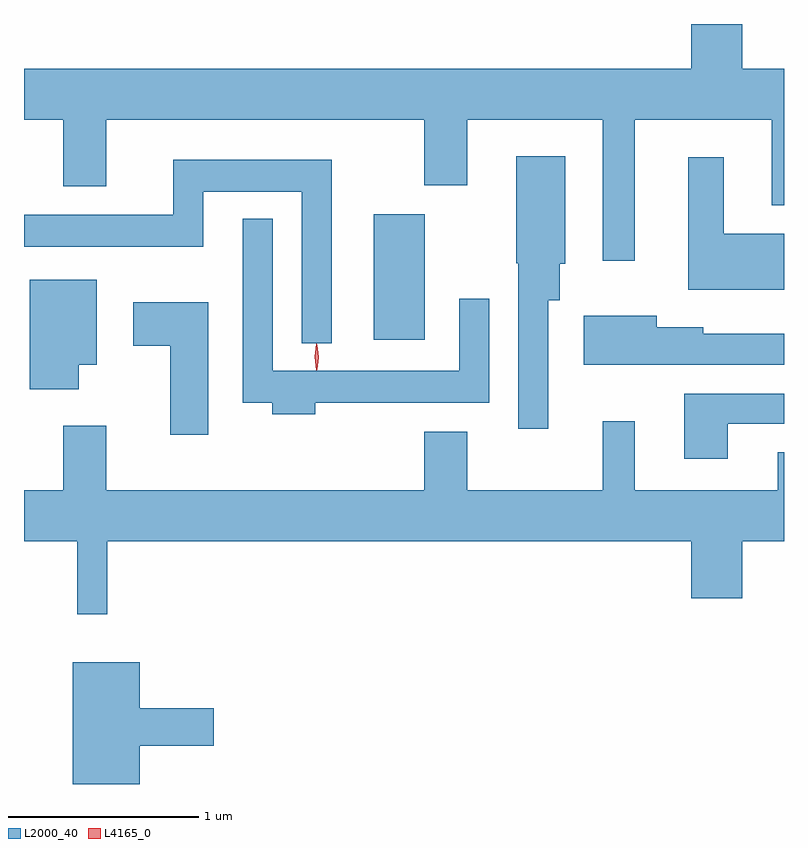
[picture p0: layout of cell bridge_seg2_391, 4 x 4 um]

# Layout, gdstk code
import gdstk
lib = gdstk.Library(unit=1e-6, precision=1e-09)
def R(c, l, rs):  # rectangles x0, y0, x1, y1
    for r in rs: c.add(gdstk.rectangle(r[:2], r[2:], *l))
def P(c, l, *ps):  # polygons
    for p in ps: c.add(gdstk.Polygon(p, *l))
L2000_40 = (2000, 40)
L4165_0 = (4165, 0)

bridge_seg2_391 = lib.new_cell('bridge_seg2_391')
R(bridge_seg2_391, L2000_40, [(632.986,980.556,633.254,981.219)])
P(bridge_seg2_391, L2000_40, [(634.359,981.716),(635.081,981.716),(635.081,981.266),(635.145,981.266),(635.145,981.984),(634.924,981.984),(634.924,982.219),(634.656,982.219),(634.656,981.984),(631.145,981.984),(631.145,981.716),(631.351,981.716),(631.351,981.366),(631.579,981.366),(631.579,981.716),(633.251,981.716),(633.251,981.371),(633.479,981.371),(633.479,981.716),(634.191,981.716),(634.191,980.973),(634.359,980.973)],
  [(633.904,980.766),(633.964,980.766),(633.964,980.956),(633.994,980.956),(633.994,981.524),(633.736,981.524),(633.736,980.96),(633.746,980.96),(633.746,980.088),(633.904,980.088)],
  [(635.145,981.114),(634.829,981.114),(634.829,981.519),(634.641,981.519),(634.641,980.821),(635.145,980.821)],
  [(632.764,981.504),(631.931,981.504),(631.931,981.214),(631.145,981.214),(631.145,981.046),(632.089,981.046),(632.089,981.336),(632.606,981.336),(632.606,980.538),(632.764,980.538)],
  [(632.679,980.226),(633.594,980.226),(633.594,980.773),(633.436,980.773),(633.436,980.394),(632.454,980.394),(632.454,981.193),(632.296,981.193),(632.296,980.226),(632.451,980.226),(632.451,980.166),(632.679,980.166)],
  [(631.434,980.426),(631.529,980.426),(631.529,980.874),(631.176,980.874),(631.176,980.296),(631.434,980.296)],
  [(632.114,980.754),(631.721,980.754),(631.721,980.526),(631.916,980.526),(631.916,980.056),(632.114,980.056)],
  [(635.145,980.589),(634.719,980.589),(634.719,980.624),(634.474,980.624),(634.474,980.684),(634.091,980.684),(634.091,980.426),(635.145,980.426)],
  [(634.849,980.116),(635.145,980.116),(635.145,980.274),(634.621,980.274),(634.621,979.931),(634.849,979.931)],
  [(634.656,979.196),(634.924,979.196),(634.924,979.496),(635.145,979.496),(635.145,979.964),(635.111,979.964),(635.111,979.764),(634.359,979.764),(634.359,980.128),(634.191,980.128),(634.191,979.764),(633.479,979.764),(633.479,980.074),(633.251,980.074),(633.251,979.764),(631.579,979.764),(631.579,980.104),(631.351,980.104),(631.351,979.764),(631.145,979.764),(631.145,979.496),(631.426,979.496),(631.426,979.113),(631.584,979.113),(631.584,979.496),(634.656,979.496)],
  [(631.754,978.421),(632.144,978.421),(632.144,978.619),(631.754,978.619),(631.754,978.859),(631.401,978.859),(631.401,978.219),(631.754,978.219)])
P(bridge_seg2_391, L4165_0, [(632.684,980.397),(632.675,980.467),(632.684,980.536),(632.685,980.536),(632.686,980.536),(632.695,980.467),(632.686,980.397),(632.685,980.397)],
  [(632.688,980.399),(632.687,980.4),(632.678,980.466),(632.687,980.532),(632.687,980.533),(632.688,980.532),(632.697,980.466),(632.688,980.4)])

lib.write_gds('bridge_seg2_391.gds')
